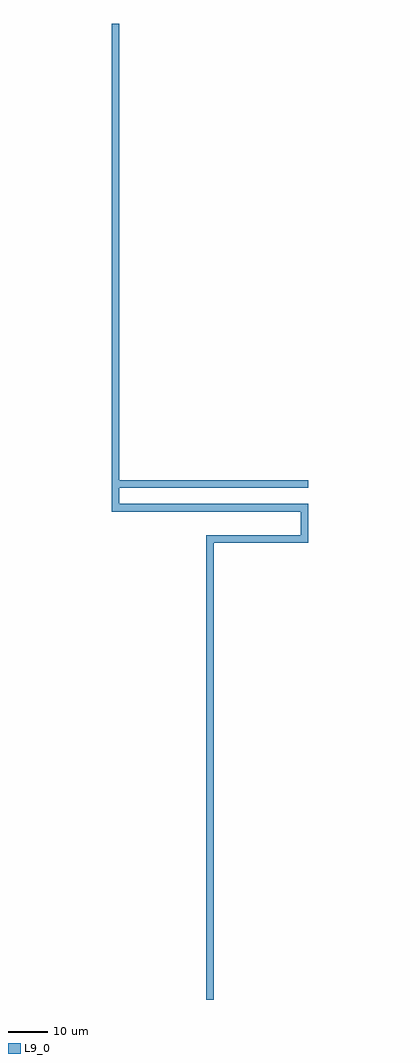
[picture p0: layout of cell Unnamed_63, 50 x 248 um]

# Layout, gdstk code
import gdstk
lib = gdstk.Library(unit=1e-6, precision=1e-09)
def R(c, l, rs):  # rectangles x0, y0, x1, y1
    for r in rs: c.add(gdstk.rectangle(r[:2], r[2:], *l))
L9_0 = (9, 0)

rectangle_s50_2_l9_0_cf_ = lib.new_cell('rectangle_S50_2_L9_0_CF_7b202ac9')
R(rectangle_s50_2_l9_0_cf_, L9_0, [(0,0,50,2)])

rectangle_s2_6_l9_0_cfa_ = lib.new_cell('rectangle_S2_6_L9_0_CFa_6e69fcce')
R(rectangle_s2_6_l9_0_cfa_, L9_0, [(0,0,2,6)])

rectangle_s26_2_l9_0_cf_ = lib.new_cell('rectangle_S26_2_L9_0_CF_7241b5a4')
R(rectangle_s26_2_l9_0_cf_, L9_0, [(0,0,26,2)])

rectangle_s2_116_l9_0_c_ = lib.new_cell('rectangle_S2_116_L9_0_C_2d5fca50')
R(rectangle_s2_116_l9_0_c_, L9_0, [(0,0,2,116)])

unnamed_63 = lib.new_cell('Unnamed_63')
unnamed_63.add(gdstk.Reference(rectangle_s50_2_l9_0_cf_, (-24,124)))
unnamed_63.add(gdstk.Reference(rectangle_s50_2_l9_0_cf_, (-24,130)))
unnamed_63.add(gdstk.Reference(rectangle_s2_6_l9_0_cfa_, (24,118)))
unnamed_63.add(gdstk.Reference(rectangle_s2_6_l9_0_cfa_, (-24,126)))
unnamed_63.add(gdstk.Reference(rectangle_s26_2_l9_0_cf_, (0,116)))
unnamed_63.add(gdstk.Reference(rectangle_s2_116_l9_0_c_, (0,0)))
unnamed_63.add(gdstk.Reference(rectangle_s2_116_l9_0_c_, (-24,132)))

lib.write_gds('Unnamed_63.gds')
